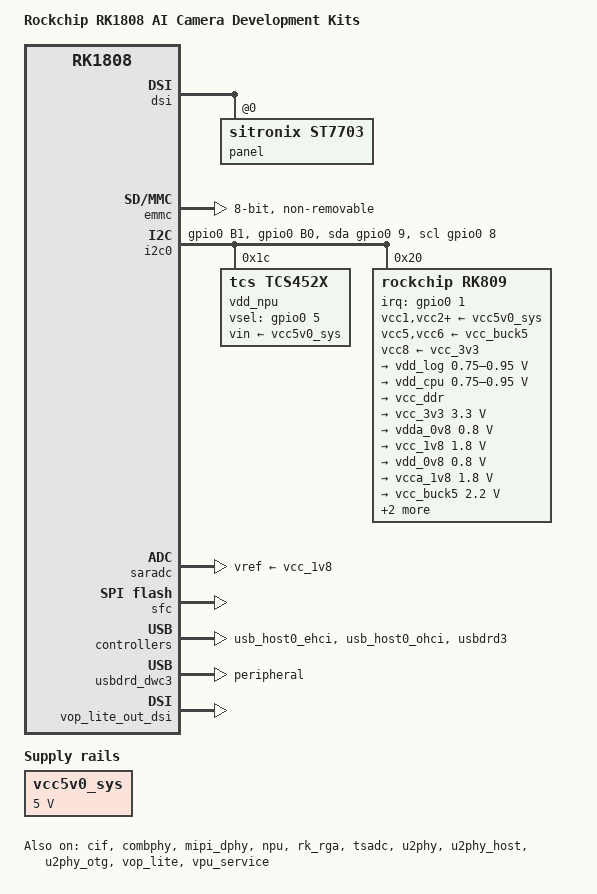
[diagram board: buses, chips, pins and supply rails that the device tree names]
// SPDX-License-Identifier: (GPL-2.0+ OR MIT)
// Copyright (c) 2019 Fuzhou Rockchip Electronics Co., Ltd.

/dts-v1/;

#include <dt-bindings/display/drm_mipi_dsi.h>
#include <dt-bindings/display/media-bus-format.h>
#include <dt-bindings/gpio/gpio.h>
#include <dt-bindings/input/input.h>
#include <dt-bindings/pinctrl/rockchip.h>
#include <dt-bindings/sensor-dev.h>

#include "rk1808.dtsi"

/ {
	model = "Rockchip RK1808 AI Camera Development Kits";
	compatible = "rockchip,rk1808-toybrick-s0-cam-devkit", "rockchip,rk1808";

	chosen {
		bootargs = "earlycon=uart8250,mmio32,0xff550000 console=ttyFIQ0 swiotlb=1 coherent_pool=1m swiotlb=1 kpti=0";
	};

	adc_key: adc-keys {
		compatible = "adc-keys";
		autorepeat;
		io-channels = <&saradc 2>;
		io-channel-names = "buttons";
		keyup-threshold-microvolt = <1800000>;
		poll-interval = <100>;
	};

	display_subsystem: display-subsystem {
		compatible = "rockchip,display-subsystem";
		ports = <&vop_lite_out>, <&vop_raw_out>;
		logo-memory-region = <&drm_logo>;
		status = "disabled";

		route {
			route_csi: route-csi {
				status = "disabled";
				logo,uboot = "logo.bmp";
				logo,kernel = "logo_kernel.bmp";
				logo,mode = "center";
				charge_logo,mode = "center";
				connect = <&vop_raw_out_csi>;
			};

			route_dsi: route-dsi {
				status = "disabled";
				logo,uboot = "logo.bmp";
				logo,kernel = "logo_kernel.bmp";
				logo,mode = "center";
				charge_logo,mode = "center";
				connect = <&vop_lite_out_dsi>;
			};

			route_rgb: route-rgb {
				status = "disabled";
				logo,uboot = "logo.bmp";
				logo,kernel = "logo_kernel.bmp";
				logo,mode = "center";
				charge_logo,mode = "center";
				connect = <&vop_lite_out_rgb>;
			};
		};
	};

	fiq-debugger {
		compatible = "rockchip,fiq-debugger";
		rockchip,serial-id = <2>;
		rockchip,wake-irq = <0>;
		/* If enable uart uses irq instead of fiq */
		rockchip,irq-mode-enable = <0>;
		rockchip,baudrate = <1500000>;  /* Only 115200 and 1500000 */
		interrupts = <GIC_SPI 242 IRQ_TYPE_LEVEL_HIGH>;
		status = "okay";
	};

	firmware {
		optee {
			compatible = "linaro,optee-tz";
			method = "smc";
		};
	};

	reserved-memory {
		#address-cells = <2>;
		#size-cells = <2>;
		ranges;

		drm_logo: drm-logo@00000000 {
			compatible = "rockchip,drm-logo";
			reg = <0x0 0x0 0x0 0x0>;
		};

		ramoops_mem: region@110000 {
			reg = <0x0 0x110000 0x0 0xf0000>;
		};
	};

	ramoops: ramoops {
		compatible = "ramoops";
		record-size = <0x0 0x30000>;
		console-size = <0x0 0xc0000>;
		ftrace-size = <0x0 0x00000>;
		pmsg-size = <0x0 0x00000>;
		memory-region = <&ramoops_mem>;
	};

	vcc5v0_sys: vcc5v0-sys {
		compatible = "regulator-fixed";
		regulator-name = "vcc5v0_sys";
		regulator-always-on;
		regulator-boot-on;
		regulator-min-microvolt = <5000000>;
		regulator-max-microvolt = <5000000>;
	};

};

&cif {
	status = "okay";

	port {
		cif_in: endpoint@0 {
			remote-endpoint = <&vcamera_out>;
		};
	};
};

&cif_mmu {
	status = "okay";
};

&cpu0 {
	cpu-supply = <&vdd_cpu>;
};

&cpu1 {
	cpu-supply = <&vdd_cpu>;
};

&combphy {
	status = "okay";
};

&display_subsystem {
	status = "okay";
};

&dsi {
	status = "okay";

	panel@0 {
		compatible = "sitronix,st7703", "simple-panel-dsi";
		reg = <0>;
		//backlight = <&backlight>;
		prepare-delay-ms = <2>;
		reset-delay-ms = <1>;
		init-delay-ms = <20>;
		enable-delay-ms = <120>;
		disable-delay-ms = <50>;
		unprepare-delay-ms = <20>;

		width-mm = <68>;
		height-mm = <121>;

		dsi,flags = <(MIPI_DSI_MODE_VIDEO | MIPI_DSI_MODE_VIDEO_BURST |
			      MIPI_DSI_MODE_LPM | MIPI_DSI_MODE_EOT_PACKET)>;
		dsi,format = <MIPI_DSI_FMT_RGB888>;
		dsi,lanes = <4>;

		panel-init-sequence = [
			05 fa 01 11
			39 00 04 b9 f1 12 83
			39 00 1c ba 33 81 05 f9 0e 0e 00 00 00
				 00 00 00 00 00 44 25 00 91 0a
				 00 00 02 4f 01 00 00 37
			15 00 02 b8 25
			39 00 04 bf 02 11 00
			39 00 0b b3 0c 10 0a 50 03 ff 00 00 00
				 00
			39 00 0a c0 73 73 50 50 00 00 08 70 00
			15 00 02 bc 46
			15 00 02 cc 0b
			15 00 02 b4 80
			39 00 04 b2 c8 12 30
			39 00 0f e3 07 07 0b 0b 03 0b 00 00 00
				 00 ff 00 c0 10
			39 00 0d c1 53 00 1e 1e 77 e1 cc dd 67
				 77 33 33
			39 00 07 c6 00 00 ff ff 01 ff
			39 00 03 b5 09 09
			39 00 03 b6 87 95
			39 00 40 e9 c2 10 05 05 10 05 a0 12 31
				 23 3f 81 0a a0 37 18 00 80 01
				 00 00 00 00 80 01 00 00 00 48
				 f8 86 42 08 88 88 80 88 88 88
				 58 f8 87 53 18 88 88 81 88 88
				 88 00 00 00 01 00 00 00 00 00
				 00 00 00 00
			39 00 3e ea 00 1a 00 00 00 00 02 00 00
				 00 00 00 1f 88 81 35 78 88 88
				 85 88 88 88 0f 88 80 24 68 88
				 88 84 88 88 88 23 10 00 00 1c
				 00 00 00 00 00 00 00 00 00 00
				 00 00 00 00 00 30 05 a0 00 00
				 00 00
			39 00 23 e0 00 06 08 2a 31 3f 38 36 07
				 0c 0d 11 13 12 13 11 18 00 06
				 08 2a 31 3f 38 36 07 0c 0d 11
				 13 12 13 11 18
			05 32 01 29
		];

		panel-exit-sequence = [
			05 00 01 28
			05 00 01 10
		];

		display-timings {
			native-mode = <&timing0>;

			timing0: timing0 {
				clock-frequency = <64000000>;
				hactive = <720>;
				vactive = <1280>;
				hfront-porch = <40>;
				hsync-len = <10>;
				hback-porch = <40>;
				vfront-porch = <22>;
				vsync-len = <4>;
				vback-porch = <11>;
				hsync-active = <0>;
				vsync-active = <0>;
				de-active = <0>;
				pixelclk-active = <0>;
			};
		};
	};
};

&emmc {
	bus-width = <8>;
	cap-mmc-highspeed;
	max-frequency = <200000000>;
	mmc-hs200-1_8v;
	supports-emmc;
	non-removable;
	num-slots = <1>;
	status = "okay";
};

&i2c0 {
	compatible = "i2c-gpio";
	gpios = <&gpio0 9 GPIO_ACTIVE_HIGH>, /* sda */
		<&gpio0 8 GPIO_ACTIVE_HIGH>; /* scl */
	i2c-gpio,delay-us = <2>;        /* ~100 kHz */
	#address-cells = <1>;
	#size-cells = <0>;
	pinctrl-names = "default";
	pinctrl-0 = <&i2c0_gpio>;
	status = "okay";

	vdd_npu: tcs4525@1c {
		compatible = "tcs,tcs452x";
		reg = <0x1c>;
		vin-supply = <&vcc5v0_sys>;
		regulator-compatible = "fan53555-reg";
		pinctrl-names = "default";
		pinctrl-0 = <&en_gpio &vsel_gpio>;
		vsel-gpios = <&gpio0 5 GPIO_ACTIVE_HIGH>;
		regulator-name = "vdd_npu";
		regulator-min-microvolt = <750000>;
		regulator-max-microvolt = <950000>;
		regulator-ramp-delay = <2300>;
		fcs,suspend-voltage-selector = <0>;
		regulator-boot-on;
		regulator-state-mem {
			regulator-off-in-suspend;
		};
	};

	rk809: pmic@20 {
		compatible = "rockchip,rk809";
		reg = <0x20>;
		interrupt-parent = <&gpio0>;
		interrupts = <1 IRQ_TYPE_LEVEL_LOW>;
		pinctrl-names = "default", "pmic-sleep",
				"pmic-power-off", "pmic-reset";
		pinctrl-0 = <&pmic_int>;
		pinctrl-1 = <&soc_slppin_gpio>, <&rk817_slppin_slp>;
		pinctrl-2 = <&soc_slppin_gpio>, <&rk817_slppin_pwrdn>;
		pinctrl-3 = <&soc_slppin_slp>, <&rk817_slppin_rst>;
		rockchip,system-power-controller;
		wakeup-source;
		#clock-cells = <1>;
		clock-output-names = "rk808-clkout1", "rk808-clkout2";
		//fb-inner-reg-idxs = <2>;
		/* 1: rst regs (default in codes), 0: rst the pmic */
		pmic-reset-func = <0>;

		vcc1-supply = <&vcc5v0_sys>;
		vcc2-supply = <&vcc5v0_sys>;
		vcc3-supply = <&vcc5v0_sys>;
		vcc4-supply = <&vcc5v0_sys>;
		vcc5-supply = <&vcc_buck5>;
		vcc6-supply = <&vcc_buck5>;
		vcc7-supply = <&vcc5v0_sys>;
		vcc8-supply = <&vcc_3v3>;
		vcc9-supply = <&vcc5v0_sys>;

		pwrkey {
			status = "okay";
		};

		rtc {
			status = "okay";
		};

		pinctrl_rk8xx: pinctrl_rk8xx {
			gpio-controller;
			#gpio-cells = <2>;

			rk817_slppin_null: rk817_slppin_null {
				pins = "gpio_slp";
				function = "pin_fun0";
			};

			rk817_slppin_slp: rk817_slppin_slp {
				pins = "gpio_slp";
				function = "pin_fun1";
			};

			rk817_slppin_pwrdn: rk817_slppin_pwrdn {
				pins = "gpio_slp";
				function = "pin_fun2";
			};

			rk817_slppin_rst: rk817_slppin_rst {
				pins = "gpio_slp";
				function = "pin_fun3";
			};
		};

		regulators {
			vdd_log: DCDC_REG1 {
				regulator-always-on;
				regulator-boot-on;
				regulator-min-microvolt = <750000>;
				regulator-max-microvolt = <950000>;
				regulator-ramp-delay = <6001>;
				regulator-initial-mode = <0x2>;
				regulator-name = "vdd_log";
				regulator-state-mem {
					regulator-on-in-suspend;
					regulator-suspend-microvolt = <800000>;
				};
			};

			vdd_cpu: DCDC_REG2 {
				regulator-always-on;
				regulator-boot-on;
				regulator-min-microvolt = <750000>;
				regulator-max-microvolt = <950000>;
				regulator-ramp-delay = <6001>;
				regulator-initial-mode = <0x2>;
				regulator-name = "vdd_cpu";
				regulator-state-mem {
					regulator-off-in-suspend;
				};
			};

			vcc_ddr: DCDC_REG3 {
				regulator-always-on;
				regulator-boot-on;
				regulator-name = "vcc_ddr";
				regulator-initial-mode = <0x2>;
				regulator-state-mem {
					regulator-on-in-suspend;
				};
			};

			vcc_3v3: DCDC_REG4 {
				regulator-always-on;
				regulator-boot-on;
				regulator-min-microvolt = <3300000>;
				regulator-max-microvolt = <3300000>;
				regulator-initial-mode = <0x2>;
				regulator-name = "vcc_3v3";
				regulator-state-mem {
					regulator-on-in-suspend;
					regulator-suspend-microvolt = <3300000>;
				};
			};

			vdda_0v8: LDO_REG1 {
				regulator-always-on;
				regulator-boot-on;
				regulator-min-microvolt = <800000>;
				regulator-max-microvolt = <800000>;
				regulator-name = "vdda_0v8";
				regulator-state-mem {
					regulator-on-in-suspend;
					regulator-suspend-microvolt = <800000>;
				};
			};

			vcc_1v8: LDO_REG2 {
				regulator-always-on;
				regulator-boot-on;
				regulator-min-microvolt = <1800000>;
				regulator-max-microvolt = <1800000>;

				regulator-name = "vcc_1v8";
				regulator-state-mem {
					regulator-on-in-suspend;
					regulator-suspend-microvolt = <1800000>;
				};
			};

			vdd_0v8: LDO_REG3 {
				regulator-always-on;
				regulator-boot-on;
				regulator-min-microvolt = <800000>;
				regulator-max-microvolt = <800000>;

				regulator-name = "vdd_0v8";
				regulator-state-mem {
					regulator-on-in-suspend;
					regulator-suspend-microvolt = <800000>;
				};
			};

			vcca_1v8: LDO_REG4 {
				regulator-always-on;
				regulator-boot-on;
				regulator-min-microvolt = <1800000>;
				regulator-max-microvolt = <1800000>;

				regulator-name = "vcca_1v8";
				regulator-state-mem {
					regulator-on-in-suspend;
					regulator-suspend-microvolt = <1800000>;

				};
			};

			vcc_buck5: DCDC_REG5 {
				regulator-always-on;
				regulator-boot-on;
				regulator-min-microvolt = <2200000>;
				regulator-max-microvolt = <2200000>;
				regulator-name = "vcc_buck5";
				regulator-state-mem {
					regulator-on-in-suspend;
					regulator-suspend-microvolt = <2200000>;
				};
			};

			vcc5v0_host: SWITCH_REG1 {
				regulator-always-on;
				regulator-boot-on;
				regulator-name = "vcc5v0_host";
			};

			vccio_3v3: SWITCH_REG2 {
				regulator-always-on;
				regulator-boot-on;
				regulator-name = "vccio_3v3";
			};

		};
	};
};

&mipi_dphy {
	status = "okay";
};

&npu {
	npu-supply = <&vdd_npu>;
	status = "okay";
};

&power {
	pd_npu-supply = <&vdd_npu>;
};

&rk_rga {
	status = "okay";
};

&route_dsi {
	status = "okay";
};

&saradc {
	status = "okay";
	vref-supply = <&vcc_1v8>;
};

&sfc {
	status = "okay";
};

&tsadc {
	status = "okay";
};

&u2phy {
	status = "okay";
};

&u2phy_host {
	status = "okay";
};

&u2phy_otg {
	rockchip,vbus-always-on;
	status = "okay";
};

&usb_host0_ehci {
	status = "okay";
};

&usb_host0_ohci {
	status = "okay";
};

&usbdrd3 {
	status = "okay";
};

&usbdrd_dwc3 {
	dr_mode = "peripheral";
	snps,tx-fifo-resize;
	status = "okay";
};

&vop_lite {
	status = "okay";
};

&vopl_mmu {
	status = "okay";
};

&vop_lite_out_dsi {
	status = "okay";
};

&vpu_service {
	status = "okay";
};

&vpu_mmu {
	status = "okay";
};

&pinctrl {
	pmic {
		en_gpio: en-gpio {
			rockchip,pins =
				<0 RK_PC4 0 &pcfg_pull_up>;
		};
		i2c0_gpio: i2c0-gpio {
			rockchip,pins =
				/* i2c0_sda */
				<0 RK_PB1 0 &pcfg_pull_up>,
				/* i2c0_scl */
				<0 RK_PB0 0 &pcfg_pull_up>;
		};
		pmic_int: pmic_int {
			rockchip,pins =
				<0 RK_PA1 0 &pcfg_pull_up>;
		};
		soc_slppin_gpio: soc_slppin_gpio {
			rockchip,pins =
				<0 RK_PA4 0 &pcfg_output_low>;
		};
		soc_slppin_slp: soc_slppin_slp {
			rockchip,pins =
				<0 RK_PA4 1 &pcfg_pull_none>;
		};
		vsel_gpio: vsel-gpio {
			rockchip,pins =
				<0 RK_PA5 0 &pcfg_pull_down>;
		};
	};
};
